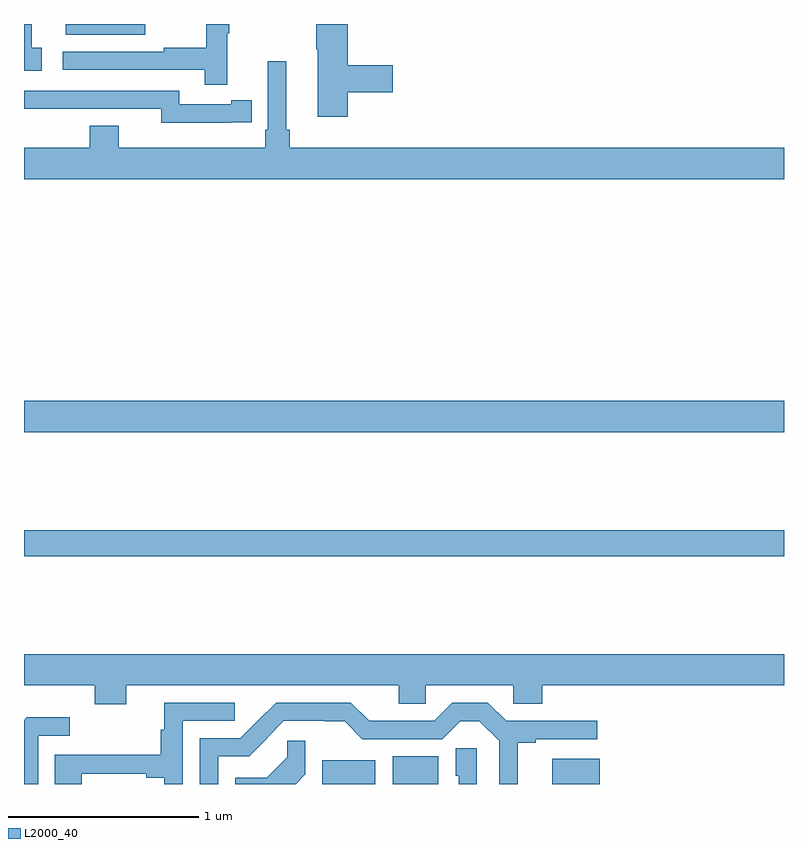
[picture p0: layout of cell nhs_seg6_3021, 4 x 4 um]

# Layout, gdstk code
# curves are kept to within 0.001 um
import gdstk
lib = gdstk.Library(unit=1e-6, precision=1e-09)
def R(c, l, rs):  # rectangles x0, y0, x1, y1
    for r in rs: c.add(gdstk.rectangle(r[:2], r[2:], *l))
def P(c, l, *ps):  # polygons
    for p in ps: c.add(gdstk.Polygon(p, *l))
L2000_40 = (2000, 40)

nhs_seg6_3021 = lib.new_cell('nhs_seg6_3021')
R(nhs_seg6_3021, L2000_40, [(290.57,929.5,290.848,929.626), (290.942,929.5,291.181,929.647), (291.779,929.5,292.03,929.632), (289,930.7,293,930.836), (289,931.352,293,931.516), (289.22,933.443,289.639,933.5)])
P(nhs_seg6_3021, L2000_40, [(289.093,933.375),(289.04,933.375),(289.04,933.5),(289,933.5),(289,933.255),(289.093,933.255)],
  [(290.705,933.142),(290.941,933.142),(290.941,933.284),(290.705,933.284),(290.705,933.5),(290.539,933.5),(290.539,933.367),(290.546,933.367),(290.546,933.012),(290.705,933.012)],
  [(290.069,933.451),(290.08,933.451),(290.08,933.5),(289.959,933.5),(289.959,933.374),(289.735,933.374),(289.735,933.354),(289.203,933.354),(289.203,933.258),(289.951,933.258),(289.951,933.18),(290.069,933.18)],
  [(293,932.848),(290.399,932.848),(290.399,932.944),(290.38,932.944),(290.38,933.304),(290.283,933.304),(290.283,932.944),(290.27,932.944),(290.27,932.848),(289.498,932.848),(289.498,932.965),(289.346,932.965),(289.346,932.848),(289,932.848),(289,932.684),(293,932.684)],
  [(290.09,932.982),(290.198,932.982),(290.198,933.098),(290.09,933.098),(290.09,933.078),(289.818,933.078),(289.818,933.15),(289,933.15),(289,933.053),(289.262,933.053),(289.262,933.054),(289.722,933.054),(289.722,932.981),(290.09,932.981)],
  [(289.537,930.02),(290.972,930.02),(290.972,929.922),(291.114,929.922),(291.114,930.02),(291.576,930.02),(291.576,929.922),(291.728,929.922),(291.728,930.02),(293,930.02),(293,930.184),(289,930.184),(289,930.02),(289.373,930.02),(289.373,929.921),(289.537,929.921)],
  [(290.022,929.646),(290.185,929.646),(290.279,929.74),(290.277,929.742),(290.367,929.832),(290.687,929.831),(290.781,929.736),(291.201,929.736),(291.296,929.831),(291.397,929.831),(291.501,929.727),(291.501,929.5),(291.599,929.5),(291.599,929.716),(291.694,929.716),(291.694,929.736),(292.018,929.736),(292.018,929.834),(291.771,929.834),(291.771,929.832),(291.538,929.832),(291.442,929.928),(291.255,929.928),(291.159,929.832),(290.92,929.832),(290.92,929.834),(290.816,929.834),(290.721,929.928),(290.327,929.928),(290.139,929.742),(289.926,929.742),(289.926,929.5),(290.022,929.5)],
  [(289.303,929.553),(289.643,929.553),(289.643,929.533),(289.739,929.533),(289.739,929.5),(289.836,929.5),(289.836,929.832),(290.109,929.832),(290.109,929.928),(289.739,929.928),(289.739,929.786),(289.72,929.786),(289.72,929.654),(289.163,929.654),(289.163,929.5),(289.303,929.5)],
  [(289.074,929.754),(289.24,929.754),(289.24,929.851),(289.015,929.851),(289,929.836),(289,929.5),(289.074,929.5)],
  [(290.481,929.552),(290.481,929.728),(290.386,929.728),(290.386,929.64),(290.278,929.532),(290.112,929.532),(290.112,929.5),(290.429,929.5)],
  [(291.384,929.687),(291.272,929.687),(291.272,929.544),(291.288,929.544),(291.288,929.5),(291.384,929.5)])

lib.write_gds('nhs_seg6_3021.gds')
